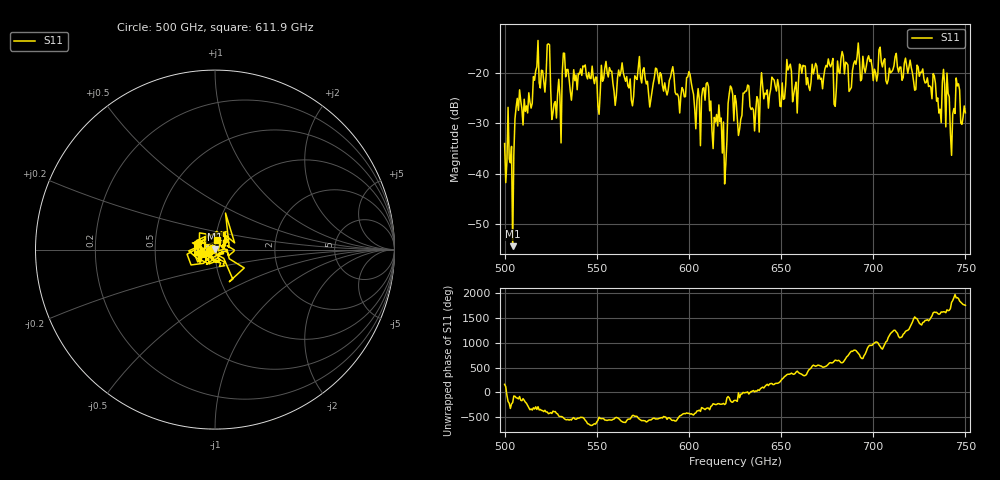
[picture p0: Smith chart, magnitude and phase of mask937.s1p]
!Created with skrf (http://scikit-rf.org).
# GHz S MA R 50.0
!freq magS11 angS11
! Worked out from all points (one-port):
!   401 points, 500 GHz to 750 GHz, reference 50 ohm
!   lowest |S11| = -54.4 dB at 504.4 GHz (marker M1), VSWR 1.00, Z = 49.8 + j0.0754 ohm
!   |S11| at or under -10 dB: start of sweep to end of sweep
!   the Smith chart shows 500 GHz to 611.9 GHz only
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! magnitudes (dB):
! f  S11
! 500 GHz  -34.0
! 504.4 GHz  -54.4
! 506.9 GHz  -25.0
! 513.8 GHz  -25.8
! 516.9 GHz  -19.5
! 523.8 GHz  -14.2
! 526.9 GHz  -26.1
! 531.2 GHz  -20.0
! 562.5 GHz  -20.6
! 579.4 GHz  -25.1
! 590.6 GHz  -19.6
! 593.8 GHz  -24.1
! 600 GHz  -19.7
! 605 GHz  -23.1
! 609.4 GHz  -22.1
! 619.4 GHz  -42.0
! 622.5 GHz  -22.5
! 625 GHz  -24.5
! 656.2 GHz  -25.7
! 683.8 GHz  -16.6
! 687.5 GHz  -23.2
! 691.2 GHz  -16.7
! 718.8 GHz  -20.0
! 735.6 GHz  -27.9
! 738.8 GHz  -22.3
! 743.1 GHz  -28.1
! 745.6 GHz  -22.5
! 750 GHz  -27.9
